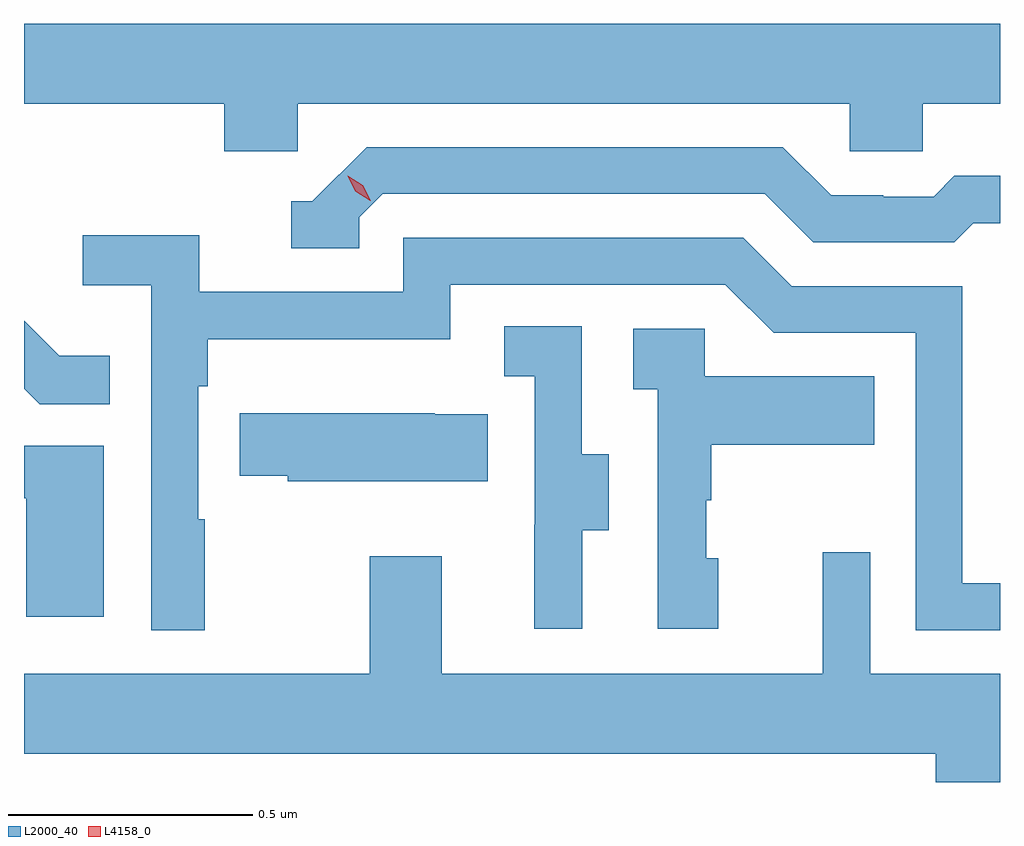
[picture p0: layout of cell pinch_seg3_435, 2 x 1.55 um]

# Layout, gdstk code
import gdstk
lib = gdstk.Library(unit=1e-6, precision=1e-09)
def P(c, l, *ps):  # polygons
    for p in ps: c.add(gdstk.Polygon(p, *l))
L2000_40 = (2000, 40)
L4158_0 = (4158, 0)

pinch_seg3_435 = lib.new_cell('pinch_seg3_435')
P(pinch_seg3_435, L2000_40, [(909.6,703.58),(910.731,703.58),(910.731,703.482),(910.881,703.482),(910.881,703.58),(911.039,703.58),(911.039,703.744),(909.039,703.744),(909.039,703.58),(909.449,703.58),(909.449,703.482),(909.6,703.482)],
  [(909.726,703.347),(909.774,703.395),(910.557,703.395),(910.656,703.296),(910.945,703.296),(910.984,703.335),(911.039,703.335),(911.039,703.432),(910.945,703.432),(910.903,703.389),(910.8,703.389),(910.8,703.392),(910.693,703.392),(910.594,703.491),(909.741,703.491),(909.63,703.38),(909.587,703.38),(909.587,703.284),(909.726,703.284)],
  [(909.409,702.728),(909.396,702.728),(909.396,703.001),(909.416,703.001),(909.416,703.097),(909.912,703.097),(909.912,703.209),(910.476,703.209),(910.575,703.11),(910.866,703.11),(910.866,702.501),(911.039,702.501),(911.039,702.597),(910.962,702.597),(910.962,703.206),(910.612,703.206),(910.513,703.305),(909.816,703.305),(909.816,703.194),(909.398,703.194),(909.398,703.31),(909.159,703.31),(909.159,703.208),(909.3,703.208),(909.3,702.501),(909.409,702.501)],
  [(909.215,703.063),(909.111,703.063),(909.039,703.135),(909.039,702.996),(909.071,702.964),(909.215,702.964)],
  [(910.183,702.706),(910.237,702.706),(910.237,702.861),(910.182,702.861),(910.182,703.124),(910.023,703.124),(910.023,703.021),(910.086,703.021),(910.086,702.717),(910.085,702.717),(910.085,702.504),(910.183,702.504)],
  [(910.462,702.648),(910.437,702.648),(910.437,702.767),(910.447,702.767),(910.447,702.881),(910.781,702.881),(910.781,703.021),(910.434,703.021),(910.434,703.119),(910.287,703.119),(910.287,702.995),(910.338,702.995),(910.338,702.504),(910.462,702.504)],
  [(909.989,702.943),(909.881,702.943),(909.881,702.946),(909.481,702.946),(909.481,702.817),(909.579,702.817),(909.579,702.806),(909.989,702.806)],
  [(909.202,702.879),(909.039,702.879),(909.039,702.771),(909.044,702.771),(909.044,702.528),(909.202,702.528)],
  [(911.039,702.412),(910.773,702.412),(910.773,702.661),(910.676,702.661),(910.676,702.412),(909.895,702.412),(909.895,702.652),(909.748,702.652),(909.748,702.412),(909.039,702.412),(909.039,702.248),(910.907,702.248),(910.907,702.189),(911.039,702.189)])
P(pinch_seg3_435, L4158_0, [(909.749,703.381),(909.718,703.4),(909.702,703.432),(909.702,703.432),(909.702,703.432),(909.733,703.413),(909.75,703.381),(909.75,703.381)])

lib.write_gds('pinch_seg3_435.gds')
